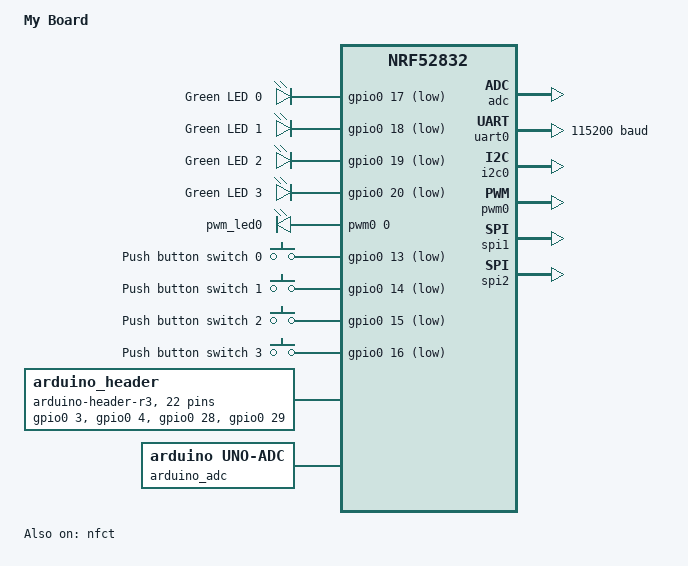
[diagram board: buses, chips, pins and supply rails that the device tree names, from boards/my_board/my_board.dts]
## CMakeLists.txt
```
cmake_minimum_required(VERSION 3.20.0)

list(APPEND BOARD_ROOT ${CMAKE_CURRENT_SOURCE_DIR})

find_package(Zephyr REQUIRED HINTS $ENV{ZEPHYR_BASE})
project(hello_world)

target_sources(app PRIVATE src/main.c)

# Subdirectories
add_subdirectory(drivers/subsys/our_sensor)
```

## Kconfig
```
# Project root Kconfig
source "Kconfig.zephyr"
rsource "drivers/subsys/our_sensor/Kconfig"
```

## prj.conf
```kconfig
CONFIG_SENSOR=y
CONFIG_OUR_SENSOR=y
```

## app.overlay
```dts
/{
    aliases{
        app-led = &led0;
    };
};
```

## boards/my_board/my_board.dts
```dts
/*
 * Copyright (c) 2017 Shawn Nock <shawn@monadnock.ca>
 * Copyright (c) 2017 Linaro Limited
 *
 * SPDX-License-Identifier: Apache-2.0
 */

/dts-v1/;
#include <nordic/nrf52832_qfaa.dtsi>
#include "my_board-pinctrl.dtsi"
#include <zephyr/dt-bindings/input/input-event-codes.h>

/ {
	model = "My Board";
	compatible = "juan,my_board";

	chosen {
		zephyr,console = &uart0;
		zephyr,shell-uart = &uart0;
		zephyr,uart-mcumgr = &uart0;
		zephyr,bt-mon-uart = &uart0;
		zephyr,bt-c2h-uart = &uart0;
		zephyr,sram = &sram0;
		zephyr,flash = &flash0;
		zephyr,code-partition = &slot0_partition;
	};

	leds {
		compatible = "gpio-leds";

		led0: led_0 {
			gpios = <&gpio0 17 GPIO_ACTIVE_LOW>;
			label = "Green LED 0";
		};

		led1: led_1 {
			gpios = <&gpio0 18 GPIO_ACTIVE_LOW>;
			label = "Green LED 1";
		};

		led2: led_2 {
			gpios = <&gpio0 19 GPIO_ACTIVE_LOW>;
			label = "Green LED 2";
		};

		led3: led_3 {
			gpios = <&gpio0 20 GPIO_ACTIVE_LOW>;
			label = "Green LED 3";
		};
	};

	pwmleds {
		compatible = "pwm-leds";

		pwm_led0: pwm_led_0 {
			pwms = <&pwm0 0 PWM_MSEC(20) PWM_POLARITY_INVERTED>;
		};
	};

	buttons {
		compatible = "gpio-keys";

		button0: button_0 {
			gpios = <&gpio0 13 (GPIO_PULL_UP | GPIO_ACTIVE_LOW)>;
			label = "Push button switch 0";
			zephyr,code = <INPUT_KEY_0>;
		};

		button1: button_1 {
			gpios = <&gpio0 14 (GPIO_PULL_UP | GPIO_ACTIVE_LOW)>;
			label = "Push button switch 1";
			zephyr,code = <INPUT_KEY_1>;
		};

		button2: button_2 {
			gpios = <&gpio0 15 (GPIO_PULL_UP | GPIO_ACTIVE_LOW)>;
			label = "Push button switch 2";
			zephyr,code = <INPUT_KEY_2>;
		};

		button3: button_3 {
			gpios = <&gpio0 16 (GPIO_PULL_UP | GPIO_ACTIVE_LOW)>;
			label = "Push button switch 3";
			zephyr,code = <INPUT_KEY_3>;
		};
	};

	arduino_header: connector {
		compatible = "arduino-header-r3";
		#gpio-cells = <2>;
		gpio-map-mask = <0xffffffff 0xffffffc0>;
		gpio-map-pass-thru = <0 0x3f>;
		gpio-map = <0 0 &gpio0 3 0>,	/* A0 */
			   <1 0 &gpio0 4 0>,	/* A1 */
			   <2 0 &gpio0 28 0>,	/* A2 */
			   <3 0 &gpio0 29 0>,	/* A3 */
			   <4 0 &gpio0 30 0>,	/* A4 */
			   <5 0 &gpio0 31 0>,	/* A5 */
			   <6 0 &gpio0 11 0>,	/* D0 */
			   <7 0 &gpio0 12 0>,	/* D1 */
			   <8 0 &gpio0 13 0>,	/* D2 */
			   <9 0 &gpio0 14 0>,	/* D3 */
			   <10 0 &gpio0 15 0>,	/* D4 */
			   <11 0 &gpio0 16 0>,	/* D5 */
			   <12 0 &gpio0 17 0>,	/* D6 */
			   <13 0 &gpio0 18 0>,	/* D7 */
			   <14 0 &gpio0 19 0>,	/* D8 */
			   <15 0 &gpio0 20 0>,	/* D9 */
			   <16 0 &gpio0 22 0>,	/* D10 */
			   <17 0 &gpio0 23 0>,	/* D11 */
			   <18 0 &gpio0 24 0>,	/* D12 */
			   <19 0 &gpio0 25 0>,	/* D13 */
			   <20 0 &gpio0 26 0>,	/* D14 */
			   <21 0 &gpio0 27 0>;	/* D15 */
	};

	arduino_adc: analog-connector {
		compatible = "arduino,uno-adc";
		#io-channel-cells = <1>;
		io-channel-map = <0 &adc 1>,	/* A0 = P0.3 = AIN1 */
				 <1 &adc 2>,	/* A1 = P0.4 = AIN2 */
				 <2 &adc 4>,	/* A2 = P0.28 = AIN4 */
				 <3 &adc 5>,	/* A3 = P0.29 = AIN5 */
				 <4 &adc 6>,	/* A4 = P0.30 = AIN6 */
				 <5 &adc 7>;	/* A5 = P0.31 = AIN7 */
	};

	/* These aliases are provided for compatibility with samples */
	aliases {
		led0 = &led0;
		led1 = &led1;
		led2 = &led2;
		led3 = &led3;
		pwm-led0 = &pwm_led0;
		sw0 = &button0;
		sw1 = &button1;
		sw2 = &button2;
		sw3 = &button3;
		bootloader-led0 = &led0;
		mcuboot-button0 = &button0;
		mcuboot-led0 = &led0;
		watchdog0 = &wdt0;
	};
};

&reg {
	regulator-initial-mode = <NRF5X_REG_MODE_DCDC>;
};

&adc {
	status = "okay";
};

&uicr {
	gpio-as-nreset;
};

&nfct {
	status = "okay";
};

&gpiote {
	status = "okay";
};

&gpio0 {
	status = "okay";
};

arduino_serial: &uart0 {
	status = "okay";
	compatible = "nordic,nrf-uarte";
	current-speed = <115200>;
	pinctrl-0 = <&uart0_default>;
	pinctrl-1 = <&uart0_sleep>;
	pinctrl-names = "default", "sleep";
};

arduino_i2c: &i2c0 {
	compatible = "nordic,nrf-twi";
	status = "okay";
	pinctrl-0 = <&i2c0_default>;
	pinctrl-1 = <&i2c0_sleep>;
	pinctrl-names = "default", "sleep";
};

&i2c1 {
	compatible = "nordic,nrf-twi";
	/* Cannot be used together with spi1. */
	/* status = "okay"; */
	pinctrl-0 = <&i2c1_default>;
	pinctrl-1 = <&i2c1_sleep>;
	pinctrl-names = "default", "sleep";
};

&pwm0 {
	status = "okay";
	pinctrl-0 = <&pwm0_default>;
	pinctrl-1 = <&pwm0_sleep>;
	pinctrl-names = "default", "sleep";
};

&spi0 {
	compatible = "nordic,nrf-spi";
	/* Cannot be used together with i2c0. */
	/* status = "okay"; */
	pinctrl-0 = <&spi0_default>;
	pinctrl-1 = <&spi0_sleep>;
	pinctrl-names = "default", "sleep";
};

&spi1 {
	compatible = "nordic,nrf-spi";
	status = "okay";
	pinctrl-0 = <&spi1_default>;
	pinctrl-1 = <&spi1_sleep>;
	pinctrl-names = "default", "sleep";
};

arduino_spi: &spi2 {
	compatible = "nordic,nrf-spi";
	status = "okay";
	cs-gpios = <&arduino_header 16 GPIO_ACTIVE_LOW>; /* D10 */
	pinctrl-0 = <&spi2_default>;
	pinctrl-1 = <&spi2_sleep>;
	pinctrl-names = "default", "sleep";
};

&flash0 {
	partitions {
		compatible = "fixed-partitions";
		#address-cells = <1>;
		#size-cells = <1>;

		boot_partition: partition@0 {
			label = "mcuboot";
			reg = <0x00000000 0xc000>;
		};

		slot0_partition: partition@c000 {
			label = "image-0";
			reg = <0x0000C000 0x37000>;
		};

		slot1_partition: partition@43000 {
			label = "image-1";
			reg = <0x00043000 0x37000>;
		};

		storage_partition: partition@7a000 {
			label = "storage";
			reg = <0x0007a000 0x00006000>;
		};
	};
};
```

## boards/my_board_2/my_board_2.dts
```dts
/dts-v1/;
#include <nordic/nrf52832_qfaa.dtsi>
#include <zephyr/dt-bindings/input/input-event-codes.h>

/ {
	model = "My Board 2";
	compatible = "juan,my_board_2";

	chosen {
		zephyr,console = &uart0;
		zephyr,shell-uart = &uart0;
		zephyr,uart-mcumgr = &uart0;
		zephyr,bt-mon-uart = &uart0;
		zephyr,bt-c2h-uart = &uart0;
		zephyr,sram = &sram0;
		zephyr,flash = &flash0;
		zephyr,code-partition = &slot0_partition;
	};

	leds {
		compatible = "gpio-leds";

		led0: led_0 {
			gpios = <&gpio0 17 GPIO_ACTIVE_LOW>;
			label = "Green LED 0";
		};
	};

	aliases {
		led0 = &led0;

	};
};


&reg {
	regulator-initial-mode = <NRF5X_REG_MODE_DCDC>;
};

&adc {
	status = "okay";
};

&uicr {
	gpio-as-nreset;
};

&nfct {
	status = "okay";
};

&gpiote {
	status = "okay";
};

&gpio0 {
	status = "okay";
};

&pinctrl {

	uart0_default: uart0_default {
		group1 {
			psels = <NRF_PSEL(UART_TX, 0, 6)>,
				<NRF_PSEL(UART_RX, 0, 8)>,
				<NRF_PSEL(UART_RTS, 0, 5)>,
				<NRF_PSEL(UART_CTS, 0, 7)>;
		};
	};

	uart0_sleep: uart0_sleep {
		group1 {
			psels = <NRF_PSEL(UART_TX, 0, 6)>,
				<NRF_PSEL(UART_RX, 0, 8)>,
				<NRF_PSEL(UART_RTS, 0, 5)>,
				<NRF_PSEL(UART_CTS, 0, 7)>;
			low-power-enable;
		};
	};	
};

arduino_serial: &uart0 {
	status = "okay";
	compatible = "nordic,nrf-uarte";
	current-speed = <115200>;
	pinctrl-0 = <&uart0_default>;
	pinctrl-1 = <&uart0_sleep>;
	pinctrl-names = "default", "sleep";
};

&flash0 {
	partitions {
		compatible = "fixed-partitions";
		#address-cells = <1>;
		#size-cells = <1>;

		boot_partition: partition@0 {
			label = "mcuboot";
			reg = <0x00000000 0xc000>;
		};

		slot0_partition: partition@c000 {
			label = "image-0";
			reg = <0x0000C000 0x37000>;
		};

		slot1_partition: partition@43000 {
			label = "image-1";
			reg = <0x00043000 0x37000>;
		};

		storage_partition: partition@7a000 {
			label = "storage";
			reg = <0x0007a000 0x00006000>;
		};
	};
};
```

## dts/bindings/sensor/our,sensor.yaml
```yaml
description: Our Sensor

compatible: "our,sensor"

include: [base.yaml, sensor-device.yaml]

properties:
  gpios:
    type: phandle-array
    required: true
    description: Led Pin
```

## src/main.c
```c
/*
 * Copyright (c) 2012-2014 Wind River Systems, Inc.
 *
 * SPDX-License-Identifier: Apache-2.0
 */

#include <stdio.h>
#include <zephyr/kernel.h>
#include <zephyr/logging/log.h>

#define BLINK_TIME_ms		500

LOG_MODULE_REGISTER(main, LOG_LEVEL_INF);

int main(void)
{

	LOG_INF("Hello World! %s\n", CONFIG_BOARD_TARGET);

	while(1){
		k_msleep(BLINK_TIME_ms);
	}

	return 0;
}
```

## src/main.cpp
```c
#include <zephyr/drivers/gpio.h>
#include <zephyr/kernel.h>
#include <zephyr/logging/log.h>

#define SLEEP_TIME_MS CONFIG_APP_HEARTBEAT_PERIOD_MS

/* The devicetree node identifier for the "app_led" alias. */
#define LED_NODE DT_ALIAS(app_led)

static const struct gpio_dt_spec led = GPIO_DT_SPEC_GET(LED_NODE, gpios);

LOG_MODULE_REGISTER(main, LOG_LEVEL_INF);

int main(void)
{
    bool led_state = true;

    if (!gpio_is_ready_dt(&led)) return 0;

    if (gpio_pin_configure_dt(&led, GPIO_OUTPUT_ACTIVE) < 0) return 0;

    while (1) {
        if (gpio_pin_toggle_dt(&led) < 0) return 0;

        led_state = !led_state;
        LOG_INF("LED state: %s", led_state ? "ON" : "OFF");
        k_msleep(SLEEP_TIME_MS);
    }
    return 0;
}
```
